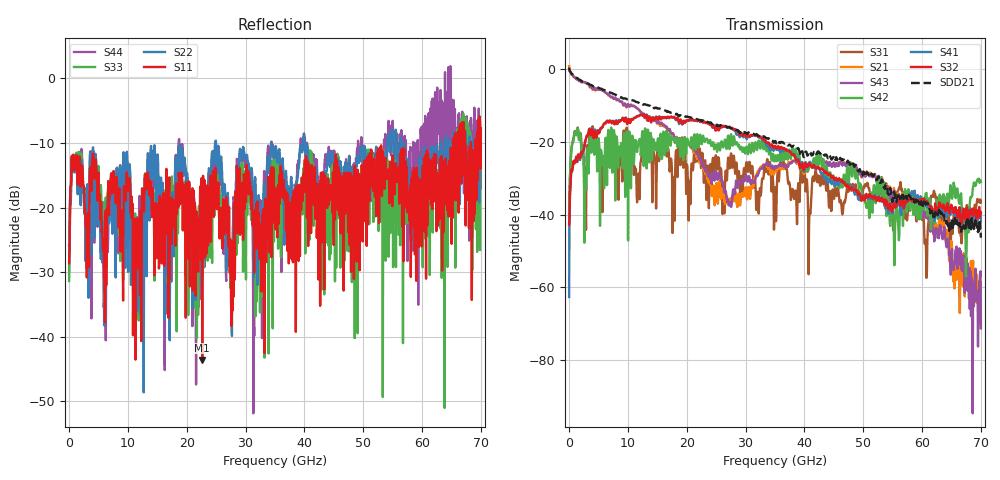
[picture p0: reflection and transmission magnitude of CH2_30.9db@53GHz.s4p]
#  HZ  S  DB  R  50.00
! Rohde & Schwarz ZVA67 4Ports - Version 3.50 - 1305.7002k04 SN: 101113
! Date: 2025-12-09 22:28:57
! Measurements: S11 S12 S13 S14 S21 S22 S23 S24 S31 S32 S33 S34 S41 S42 S43 S44
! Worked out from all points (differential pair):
!   1000 points, 10 MHz to 70 GHz, reference 50 ohm
!   strongest paths, dB at 10 MHz, 17.53 GHz, 35.04 GHz, 52.56 GHz, 70 GHz:
!     S32: -42.8, -13.4, -21.1, -35.3, -39.6
!     S41: -62.6, -13.4, -21.6, -35.3, -41.7
!     S42: -42.5, -19.2, -23.9, -31.9, -31.0
!     S43: -0.1, -17.8, -26.7, -29.8, -71.2
!     S21: 0.7, -17.8, -27.4, -29.5, -55.8
!     S31: -40.9, -31.3, -32.5, -33.0, -36.7
!   taken as a pair (ports 3,1 in; 4,2 out), SDD21 dB: 0.3, -12.0, -19.8, -29.6, -46.3
!   lowest |S11| = -43.6 dB at 22.64 GHz (marker M1), VSWR 1.01, Z = 50.5 + j0.476 ohm
!   |S11| at or under -10 dB: start of sweep to 65.36 GHz; 67.31 GHz to 68.32 GHz (1.007 GHz wide, 1.48 % of centre); 68.32 GHz to 69.08 GHz (758.3 MHz wide, 1.1 % of centre) (the widest 3 of 15)
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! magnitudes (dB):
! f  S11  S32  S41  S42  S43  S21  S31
! 10 MHz  -28.6  -42.8  -62.6  -42.5  -0.1  0.7  -40.9
! 640.5 MHz  -13.6  -26.8  -26.5  -20.2  -1.8  -1.9  -19.9
! 3.653 GHz  -13.7  -18.2  -18.0  -18.9  -5.1  -5.1  -17.6
! 22.64 GHz  -43.6  -14.5  -14.4  -19.4  -26.4  -26.8  -23.1
! 51.71 GHz  -17.4  -35.3  -35.9  -33.6  -29.7  -29.3  -36.4
! 67.62 GHz  -18.8  -38.1  -39.7  -45.1  -57.7  -53.7  -37.4
! 70 GHz  -7.7  -39.6  -41.7  -31.0  -71.2  -55.8  -36.7
